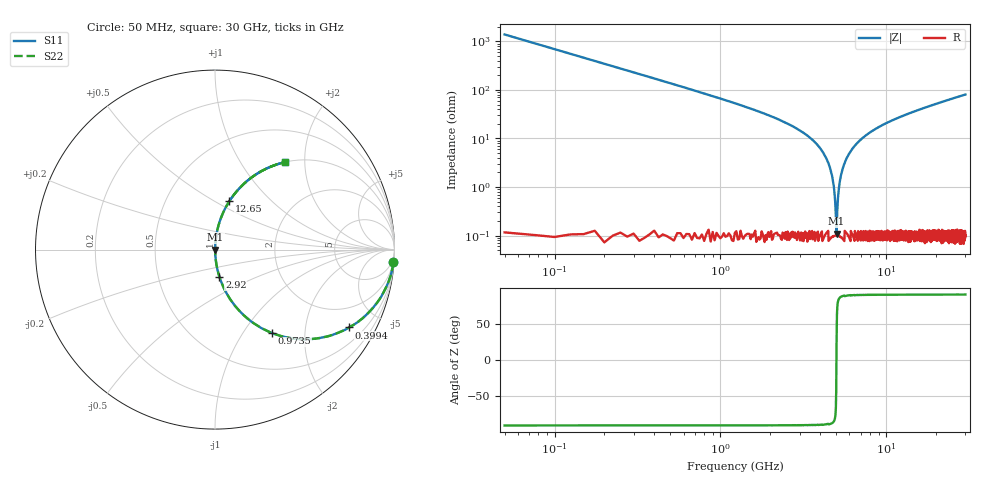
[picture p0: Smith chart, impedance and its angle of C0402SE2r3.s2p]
!	AVX Thin Film Operation 	Date: April 2014
!	Description: Accu-P® Series, Thin Film  SMD RF Capacitor
!	Part Number: 04025J2R3QBSTR
# MHZ S MA R 50
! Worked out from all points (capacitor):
!   1201 points, 50 MHz to 30 GHz, reference 50 ohm
!   read as one part in series: C = 2.3 pF near 199.8 MHz
!   lowest |Z| = 110 mohm at 5.017 GHz (marker M1)
!   series resonance near 5.009 GHz, so ESL is about 440 pH
!   S11 on the Smith chart (normalised r, x): 50 MHz: 1, -28; 399.4 MHz: 1.01, -3.44; 973.5 MHz: 1.00, -1.37; 2.92 GHz: 1.00, -0.31; 12.65 GHz: 1.00, +0.59; 30 GHz: 1.00, +1.61
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50  0.997 -4.1  0.072 85.9  0.072 85.9  0.997 -4.1
249.667  0.94 -19.9  0.34 70.1  0.34 70.1  0.94 -19.9
399.417  0.864 -30.1  0.502 59.8  0.502 59.8  0.864 -30.1
973.458  0.564 -55.6  0.825 34.3  0.825 34.3  0.564 -55.6
1697.25  0.339 -70.0  0.94 19.8  0.94 19.8  0.339 -70.0
2920.208  0.154 -80.7  0.987 8.9  0.987 8.9  0.154 -80.7
4367.792  0.038 -86.3  0.998 2.2  0.998 2.2  0.038 -86.3
4692.25  0.018 -85.8  0.999 1.0  0.999 1.0  0.018 -85.8
4916.875  0.005206 -78.5  0.999 0.3  0.999 0.3  0.005206 -78.5
5016.708  0.001102 23.6  0.999 -0.0  0.999 -0.0  0.001102 23.6
5041.667  0.002074 60.8  0.999 -0.1  0.999 -0.1  0.002074 60.8
5116.542  0.005967 79.9  0.999 -0.3  0.999 -0.3  0.005967 79.9
5266.292  0.014 85.0  0.999 -0.8  0.999 -0.8  0.014 85.0
5416.042  0.022 86.1  0.999 -1.2  0.999 -1.2  0.022 86.1
6139.833  0.057 85.7  0.997 -3.2  0.997 -3.2  0.057 85.7
7712.208  0.122 82.5  0.992 -7.0  0.992 -7.0  0.122 82.5
10058.29  0.204 77.9  0.978 -11.8  0.978 -11.8  0.204 77.9
12653.96  0.282 73.4  0.958 -16.4  0.958 -16.4  0.282 73.4
15025  0.345 69.6  0.938 -20.2  0.938 -20.2  0.345 69.6
20016.67  0.459 62.5  0.887 -27.3  0.887 -27.3  0.459 62.5
25033.29  0.552 56.4  0.833 -33.5  0.833 -33.5  0.552 56.4
30000  0.626 51.1  0.779 -38.8  0.779 -38.8  0.626 51.1
